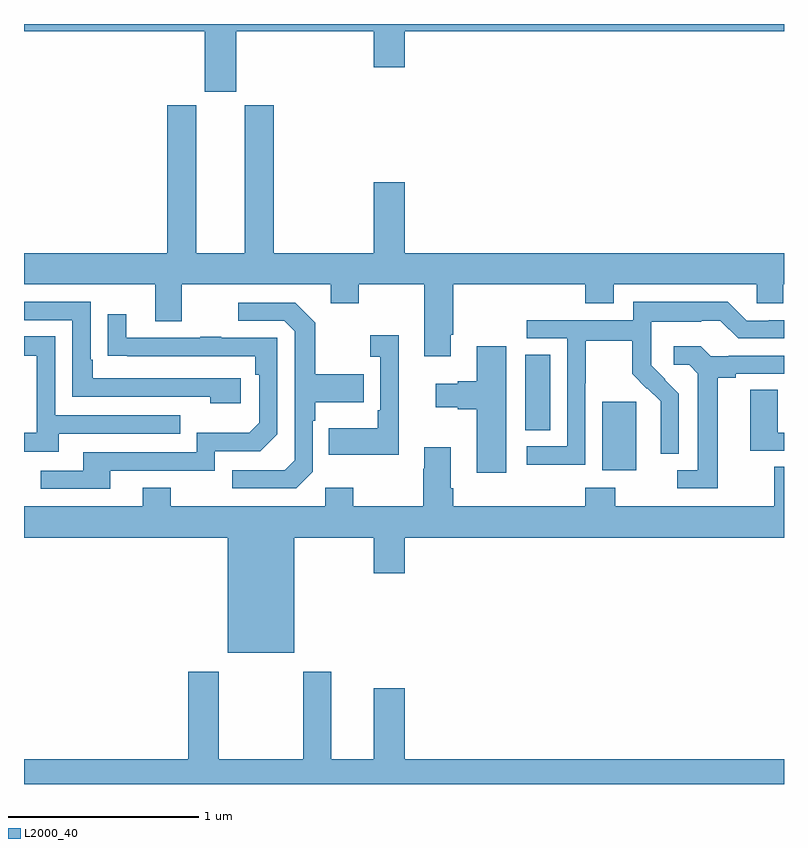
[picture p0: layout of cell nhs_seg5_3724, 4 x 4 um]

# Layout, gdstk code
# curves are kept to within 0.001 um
import gdstk
lib = gdstk.Library(unit=1e-6, precision=1e-09)
def R(c, l, rs):  # rectangles x0, y0, x1, y1
    for r in rs: c.add(gdstk.rectangle(r[:2], r[2:], *l))
def P(c, l, *ps):  # polygons
    for p in ps: c.add(gdstk.Polygon(p, *l))
L2000_40 = (2000, 40)

nhs_seg5_3724 = lib.new_cell('nhs_seg5_3724')
R(nhs_seg5_3724, L2000_40, [(334.043,854.45,334.222,854.811), (333.638,854.662,333.769,855.059)])
P(nhs_seg5_3724, L2000_40, [(332.116,856.76),(332.84,856.76),(332.84,856.572),(333.004,856.572),(333.004,856.76),(335,856.76),(335,856.799),(331,856.799),(331,856.76),(331.952,856.76),(331.952,856.443),(332.116,856.443)],
  [(333.247,855.163),(333.26,855.163),(333.26,855.428),(333.953,855.428),(333.953,855.329),(334.105,855.329),(334.105,855.428),(334.857,855.428),(334.857,855.33),(334.995,855.33),(334.995,855.428),(335,855.428),(335,855.592),(333.004,855.592),(333.004,855.967),(332.84,855.967),(332.84,855.592),(332.315,855.592),(332.315,856.371),(332.162,856.371),(332.162,855.592),(331.906,855.592),(331.906,856.371),(331.754,856.371),(331.754,855.592),(331,855.592),(331,855.428),(331.691,855.428),(331.691,855.234),(331.831,855.234),(331.831,855.428),(332.615,855.428),(332.615,855.329),(332.763,855.329),(332.763,855.428),(333.107,855.428),(333.107,855.051),(333.247,855.051)],
  [(333.954,854.908),(333.957,854.908),(333.957,855.132),(334.201,855.132),(334.201,854.957),(334.278,854.88),(334.281,854.883),(334.352,854.813),(334.352,854.69),(334.35,854.69),(334.35,854.536),(334.446,854.536),(334.446,854.854),(334.3,855.002),(334.3,855.099),(334.302,855.099),(334.302,855.233),(334.565,855.233),(334.565,855.237),(334.665,855.237),(334.758,855.144),(335,855.144),(335,855.24),(334.919,855.24),(334.919,855.237),(334.803,855.237),(334.703,855.337),(334.206,855.337),(334.206,855.24),(333.645,855.24),(333.645,855.144),(333.858,855.144),(333.858,854.577),(333.645,854.577),(333.645,854.479),(333.954,854.479)],
  [(332.14,854.934),(331.363,854.934),(331.363,855.031),(331.35,855.031),(331.35,855.336),(331,855.336),(331,855.24),(331.254,855.24),(331.254,854.838),(331.979,854.838),(331.979,854.804),(332.14,854.804)],
  [(332.52,854.442),(332.52,854.711),(332.533,854.711),(332.533,854.807),(332.789,854.807),(332.789,854.955),(332.533,854.955),(332.533,855.227),(332.427,855.333),(332.127,855.333),(332.127,855.237),(332.37,855.237),(332.424,855.183),(332.424,854.502),(332.373,854.451),(332.097,854.451),(332.097,854.355),(332.433,854.355)],
  [(331.453,854.448),(332.004,854.448),(332.004,854.55),(332.244,854.55),(332.334,854.64),(332.334,855.147),(332.039,855.147),(332.039,855.152),(331.927,855.152),(331.927,855.147),(331.537,855.147),(331.537,855.271),(331.441,855.271),(331.441,855.052),(332.218,855.051),(332.218,854.954),(332.238,854.954),(332.238,854.7),(332.185,854.647),(331.908,854.647),(331.908,854.544),(331.313,854.544),(331.313,854.448),(331.089,854.448),(331.089,854.352),(331.453,854.352)],
  [(332.972,855.16),(332.823,855.16),(332.823,855.047),(332.874,855.047),(332.874,854.767),(332.862,854.767),(332.862,854.671),(332.605,854.671),(332.605,854.531),(332.972,854.531)],
  [(331.183,854.643),(331.823,854.643),(331.823,854.739),(331.164,854.739),(331.164,855.155),(331,855.155),(331,855.054),(331.068,855.054),(331.068,854.649),(331,854.649),(331,854.549),(331.183,854.549)],
  [(334.651,854.936),(334.747,854.936),(334.747,854.958),(335,854.958),(335,855.054),(334.708,855.054),(334.708,855.051),(334.614,855.051),(334.562,855.103),(334.419,855.103),(334.419,855.006),(334.5,855.006),(334.547,854.959),(334.547,854.451),(334.437,854.451),(334.437,854.355),(334.651,854.355)],
  [(333.538,855.103),(333.383,855.103),(333.383,854.918),(333.284,854.918),(333.284,854.905),(333.168,854.905),(333.168,854.783),(333.284,854.783),(333.284,854.771),(333.383,854.771),(333.383,854.436),(333.538,854.436)],
  [(335,854.649),(334.968,854.649),(334.968,854.873),(334.823,854.873),(334.823,854.553),(335,854.553)],
  [(332.422,854.096),(332.84,854.096),(332.84,853.908),(333.004,853.908),(333.004,854.096),(335,854.096),(335,854.468),(334.949,854.468),(334.949,854.26),(334.113,854.26),(334.113,854.359),(333.953,854.359),(333.953,854.26),(333.26,854.26),(333.26,854.356),(333.247,854.356),(333.247,854.572),(333.107,854.572),(333.107,854.459),(333.1,854.459),(333.1,854.26),(332.733,854.26),(332.733,854.359),(332.586,854.359),(332.586,854.26),(331.773,854.26),(331.773,854.359),(331.625,854.359),(331.625,854.26),(331,854.26),(331,854.096),(332.072,854.096),(332.072,853.49),(332.422,853.49)],
  [(335,852.928),(333.004,852.928),(333.004,853.303),(332.84,853.303),(332.84,852.928),(332.617,852.928),(332.617,853.39),(332.47,853.39),(332.47,852.928),(332.025,852.928),(332.025,853.39),(331.865,853.39),(331.865,852.928),(331,852.928),(331,852.799),(335,852.799)])

lib.write_gds('nhs_seg5_3724.gds')
